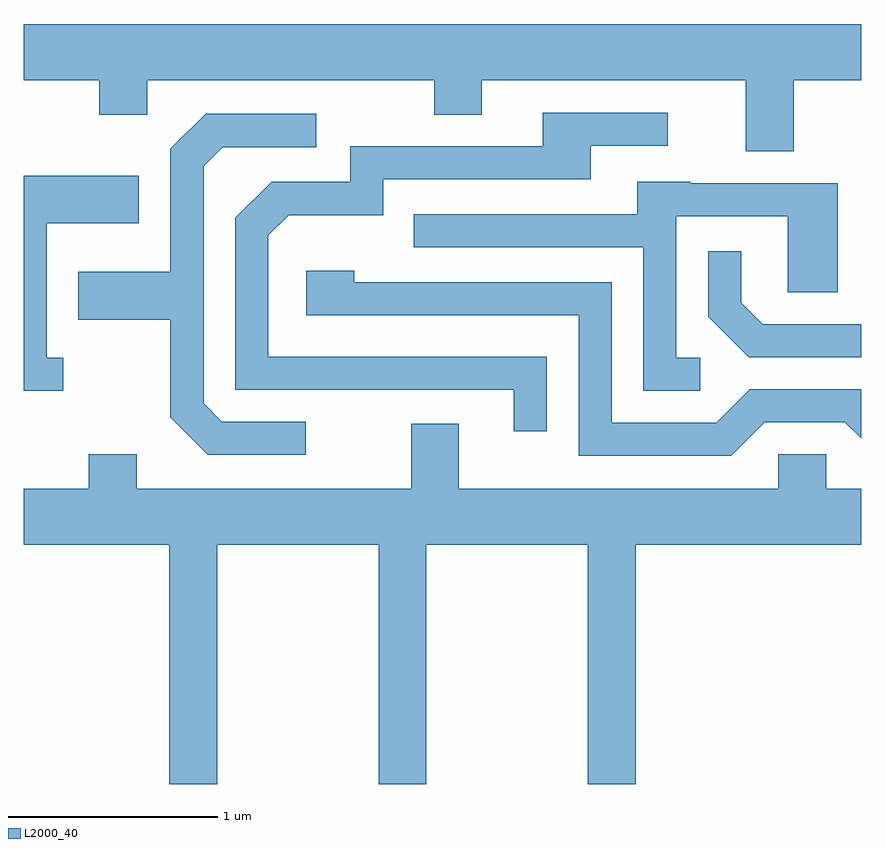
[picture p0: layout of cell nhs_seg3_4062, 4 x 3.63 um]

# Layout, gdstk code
import gdstk
lib = gdstk.Library(unit=1e-6, precision=1e-09)
def P(c, l, *ps):  # polygons
    for p in ps: c.add(gdstk.Polygon(p, *l))
L2000_40 = (2000, 40)

nhs_seg3_4062 = lib.new_cell('nhs_seg3_4062')
P(nhs_seg3_4062, L2000_40, [(307.289,1219.256),(307.611,1219.256),(307.611,1219.524),(303.611,1219.524),(303.611,1219.256),(303.971,1219.256),(303.971,1219.091),(304.199,1219.091),(304.199,1219.256),(305.571,1219.256),(305.571,1219.091),(305.799,1219.091),(305.799,1219.256),(307.061,1219.256),(307.061,1218.916),(307.289,1218.916)],
  [(306.109,1217.934),(304.779,1217.934),(304.779,1218.514),(304.877,1218.611),(305.329,1218.611),(305.329,1218.781),(306.319,1218.781),(306.319,1218.941),(306.688,1218.941),(306.688,1219.099),(306.091,1219.099),(306.091,1218.939),(305.171,1218.939),(305.171,1218.769),(304.794,1218.769),(304.621,1218.597),(304.621,1217.776),(305.951,1217.776),(305.951,1217.578),(306.109,1217.578)],
  [(304.958,1217.624),(304.557,1217.624),(304.469,1217.712),(304.469,1218.844),(304.562,1218.936),(305.008,1218.936),(305.008,1219.094),(304.479,1219.094),(304.311,1218.927),(304.311,1218.339),(303.871,1218.339),(303.871,1218.111),(304.311,1218.111),(304.311,1217.644),(304.489,1217.466),(304.958,1217.466)],
  [(303.798,1217.929),(303.719,1217.929),(303.719,1218.571),(304.159,1218.571),(304.159,1218.799),(303.611,1218.799),(303.611,1217.771),(303.798,1217.771)],
  [(306.843,1217.929),(306.729,1217.929),(306.729,1218.606),(307.261,1218.606),(307.261,1218.241),(307.499,1218.241),(307.499,1218.764),(306.795,1218.764),(306.795,1218.769),(306.541,1218.769),(306.541,1218.614),(305.473,1218.614),(305.473,1218.456),(306.571,1218.456),(306.571,1217.771),(306.843,1217.771)],
  [(307.611,1218.089),(307.142,1218.089),(307.039,1218.192),(307.039,1218.438),(306.881,1218.438),(306.881,1218.124),(307.074,1217.931),(307.611,1217.931)],
  [(307.152,1217.621),(307.534,1217.621),(307.611,1217.544),(307.611,1217.779),(307.079,1217.779),(306.919,1217.619),(306.419,1217.619),(306.419,1218.289),(305.189,1218.289),(305.189,1218.344),(304.961,1218.344),(304.961,1218.131),(306.261,1218.131),(306.261,1217.461),(306.992,1217.461)],
  [(304.534,1217.036),(305.306,1217.036),(305.306,1215.892),(305.534,1215.892),(305.534,1217.036),(306.306,1217.036),(306.306,1215.892),(306.534,1215.892),(306.534,1217.036),(307.611,1217.036),(307.611,1217.304),(307.444,1217.304),(307.444,1217.469),(307.216,1217.469),(307.216,1217.304),(305.689,1217.304),(305.689,1217.614),(305.461,1217.614),(305.461,1217.304),(304.149,1217.304),(304.149,1217.469),(303.921,1217.469),(303.921,1217.304),(303.611,1217.304),(303.611,1217.036),(304.306,1217.036),(304.306,1215.892),(304.534,1215.892)])

lib.write_gds('nhs_seg3_4062.gds')
